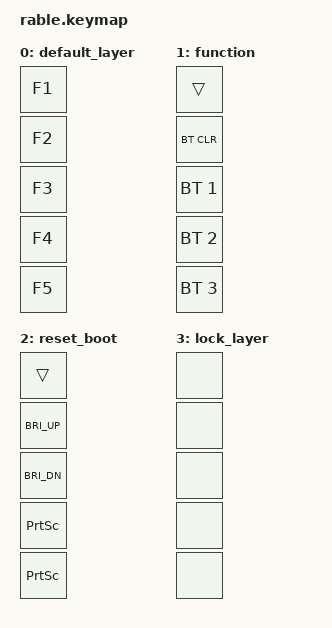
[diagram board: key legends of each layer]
/*
 * Copyright (c) 2021 Nick Winans
 *
 * SPDX-License-Identifier: MIT
 */

#include <behaviors.dtsi>
#include <dt-bindings/zmk/keys.h>
#include <dt-bindings/zmk/bt.h>
#include <dt-bindings/zmk/rgb.h>
#include <dt-bindings/zmk/outputs.h>

/ {
    keymap {
        compatible = "zmk,keymap";

        default_layer {
            bindings = <
&kp F1
&kp F2
&kp F3
&kp F4






























&kp F5
            >;
        };

        function {
            bindings = <
&trans
&bt BT_CLR
&bt BT_SEL 1
&bt BT_SEL 2






























&bt BT_SEL 3
            >;
        };

        reset_boot {
            bindings = <
&trans
&kp C_BRI_UP
&kp C_BRI_DN
&kp PSCRN






























&kp PSCRN
            >;
        };

        lock_layer {
            bindings = <
&none
&none
&none
&none






























&none
            >;
        };
    };
};
